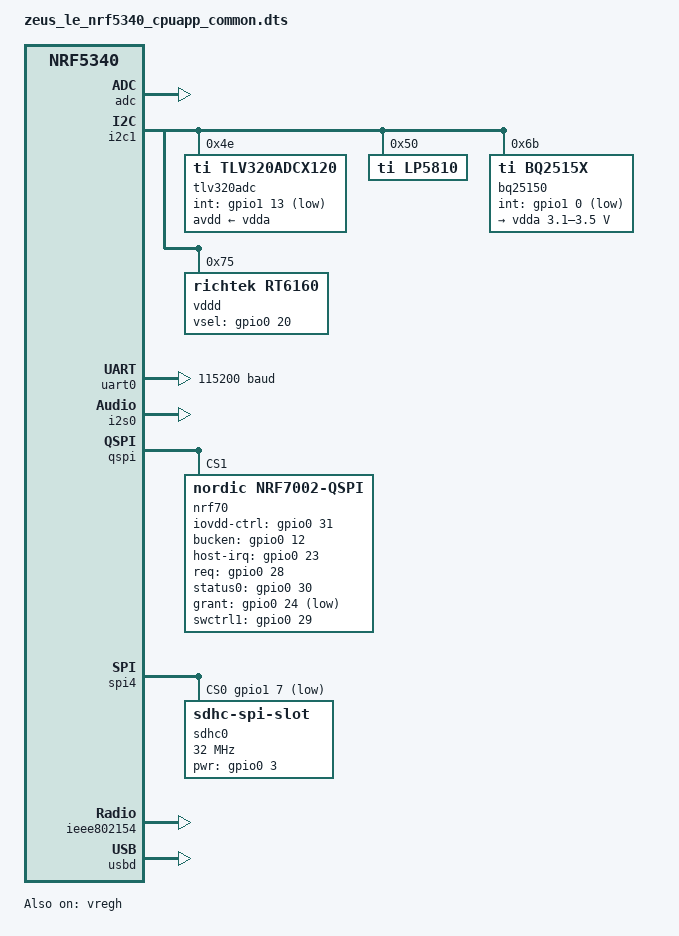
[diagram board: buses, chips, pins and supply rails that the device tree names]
/*
 * Copyright (c) 2024 Ben Wolsieffer
 *
 * SPDX-License-Identifier: Apache-2.0
 */
#include "zeus_le_nrf5340_cpuapp_common-pinctrl.dtsi"
#include <zeus/dt-bindings/regulator/bq2515x.h>

/ {

	chosen {
		zephyr,console = &uart0;
		zephyr,shell-uart = &uart0;
		zephyr,uart-mcumgr = &uart0;
		zephyr,bt-mon-uart = &uart0;
		zephyr,bt-c2h-uart = &uart0;
		zephyr,bt-hci = &bt_hci_ipc0;
		nordic,802154-spinel-ipc = &ipc0;
		zephyr,ieee802154 = &ieee802154;
		zephyr,wifi = &wlan0;
	};

	aliases {
		watchdog0 = &wdt0;
		i2s = &i2s0;
		codec = &tlv320adc;
	};
};

&clock {
	hfclkaudio-frequency = <11289600>;
};

&vregmain {
	regulator-initial-mode = <NRF5X_REG_MODE_DCDC>;
};

&vregradio {
	regulator-initial-mode = <NRF5X_REG_MODE_DCDC>;
};

&vregh {
	status = "okay";
};

&adc {
	status = "okay";
};

&gpiote {
	status = "okay";
};

&uicr {
	nfct-pins-as-gpios;
};

&gpio0 {
	status = "okay";
};

&gpio1 {
	status = "okay";
};

&i2c1 {
	compatible = "nordic,nrf-twim";
	status = "okay";
	pinctrl-0 = <&i2c1_default>;
	pinctrl-1 = <&i2c1_sleep>;
	pinctrl-names = "default", "sleep";

	tlv320adc: tlv320adc@4e {
		compatible = "ti,tlv320adcx120";
		reg = <0x4e>;
		// TODO: configure ADC GPIO1 as IRQ in driver. Pull-up should not be
		// necessary as the pin can be configured as push-pull.
		int-gpios = <&gpio1 13 (GPIO_ACTIVE_LOW | GPIO_PULL_UP)>;

		avdd-supply = <&vdda>;
		internal-areg;

		left {
			channel = <1>;
			line-in;
			slot = <0>;
		};

		right {
			channel = <2>;
			line-in;
			slot = <32>;
		};
	};

	lp5810@50 {
		compatible = "ti,lp5810";
		reg = <0x50>;

		lsd-threshold-percent = <65>;
	};

	bq25150@6b {
		compatible = "ti,bq2515x";
		reg = <0x6b>;
		int-gpios = <&gpio1 0 GPIO_ACTIVE_LOW>;

		charger {
			compatible = "ti,bq2515x-charger";

			constant-charge-current-max-microamp = <100000>;
			input-current-max-milliamp = <150>;
		};

		vdda: ldo {
			compatible = "ti,bq2515x-regulator";

			regulator-initial-mode = <BQ2515X_REGULATOR_MODE_LDO>;
			regulator-min-microvolt = <3100000>;
			regulator-max-microvolt = <3500000>;
		};
	};

	vddd: rt6160a@75 {
		compatible = "richtek,rt6160";
		reg = <0x75>;
		richtek,vsel-gpios = <&gpio0 20 GPIO_ACTIVE_HIGH>;

		regulator-always-on;
		regulator-min-microvolt = <3100000>;
		regulator-max-microvolt = <3500000>;
	};
};

&uart0 {
	status = "okay";
	current-speed = <115200>;
	pinctrl-0 = <&uart0_default>;
	pinctrl-1 = <&uart0_sleep>;
	pinctrl-names = "default", "sleep";
};

&i2s0 {
	status = "okay";
	pinctrl-0 = <&i2s0_default>;
	pinctrl-names = "default";
	clock-source = "ACLK";
};

&qspi {
	status = "okay";
	pinctrl-0 = <&qspi_default>;
	pinctrl-1 = <&qspi_sleep>;
	pinctrl-names = "default", "sleep";
};

&spi4 {
	compatible = "nordic,nrf-spim";
	status = "okay";
	cs-gpios = <&gpio1 7 GPIO_ACTIVE_LOW>;

	pinctrl-0 = <&spi4_default>;
	pinctrl-1 = <&spi4_sleep>;
	pinctrl-names = "default", "sleep";

	sdhc0: sdhc@0 {
		compatible = "zephyr,sdhc-spi-slot";
		reg = <0>;
		status = "okay";
		pwr-gpios = <&gpio0 3 GPIO_ACTIVE_HIGH>;

		sdmmc {
			compatible = "zephyr,sdmmc-disk";
			status = "okay";
		};

		// Spec says 25 MHz is the max for SPI mode. Next lowest supported by
		// nRF53 SPI is 16 MHz. Probably should hack the driver to allow
		// overclocking to 32 MHz.
		spi-max-frequency = <32000000>;
	};
};

&qspi {
	nrf70: nrf7002@1 {
		compatible = "nordic,nrf7002-qspi";
		status = "okay";
		reg = <1>;
		qspi-frequency = <24000000>;
		qspi-quad-mode;

		iovdd-ctrl-gpios = <&gpio0 31 GPIO_ACTIVE_HIGH>;
		bucken-gpios = <&gpio0 12 GPIO_ACTIVE_HIGH>;
		host-irq-gpios = <&gpio0 23 GPIO_ACTIVE_HIGH>;
		req-gpios = <&gpio0 28 GPIO_ACTIVE_HIGH>;
		status0-gpios = <&gpio0 30 GPIO_ACTIVE_HIGH>;
		grant-gpios = <&gpio0 24 (GPIO_PULL_DOWN | GPIO_ACTIVE_LOW)>;
		swctrl1-gpios = <&gpio0 29 GPIO_ACTIVE_HIGH>;

		wifi-max-tx-pwr-2g-dsss = <21>;
		wifi-max-tx-pwr-2g-mcs0 = <16>;
		wifi-max-tx-pwr-2g-mcs7 = <16>;

		wifi-max-tx-pwr-5g-low-mcs0 = <9>;
		wifi-max-tx-pwr-5g-low-mcs7 = <9>;
		wifi-max-tx-pwr-5g-mid-mcs0 = <11>;
		wifi-max-tx-pwr-5g-mid-mcs7 = <11>;
		wifi-max-tx-pwr-5g-high-mcs0 = <13>;
		wifi-max-tx-pwr-5g-high-mcs7 = <13>;

		wlan0: wlan {
			compatible = "nordic,wlan";
		};
	};
};

&flash0 {

	partitions {
		compatible = "fixed-partitions";
		#address-cells = <1>;
		#size-cells = <1>;

		boot_partition: partition@0 {
			label = "mcuboot";
			reg = <0x00000000 0x00010000>;
		};
		slot0_partition: partition@10000 {
			label = "image-0";
		};
		slot0_ns_partition: partition@50000 {
			label = "image-0-nonsecure";
		};
		slot1_partition: partition@80000 {
			label = "image-1";
		};
		slot1_ns_partition: partition@c0000 {
			label = "image-1-nonsecure";
		};
		/* 0xf0000 to 0xf7fff reserved for TF-M partitions */
		storage_partition: partition@f8000 {
			label = "storage";
			reg = <0x000f8000 0x00008000>;
		};
	};
};

&ieee802154 {
	status = "okay";
};

zephyr_udc0: &usbd {
	compatible = "nordic,nrf-usbd";
	status = "okay";
};

/ {
	reserved-memory {
		#address-cells = <1>;
		#size-cells = <1>;
		ranges;

		sram0_image: image@20000000 {
			/* Zephyr image(s) memory */
		};

		sram0_s: image_s@20000000 {
			/* Secure image memory */
		};

		sram0_ns: image_ns@20040000 {
			/* Non-Secure image memory */
		};
	};
};

/* Include partition configuration file */
#include "zeus_le_nrf5340_cpuapp_partition_conf.dts"
